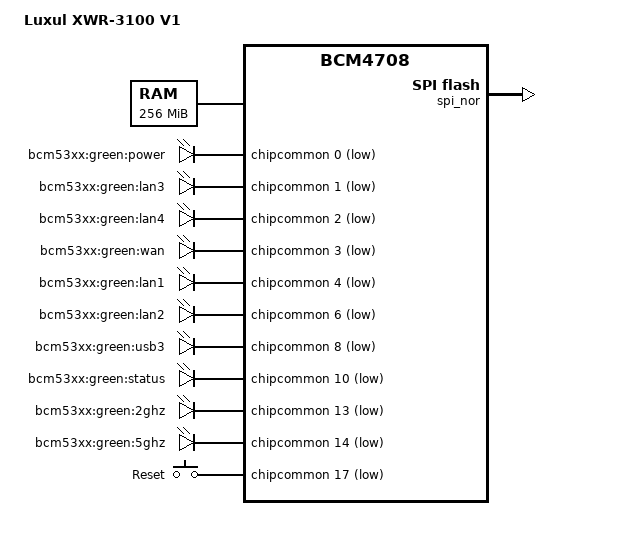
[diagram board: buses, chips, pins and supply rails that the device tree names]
/*
 * Copyright 2016 Luxul Inc.
 *
 * Licensed under the ISC license.
 */

/dts-v1/;

#include "bcm47094.dtsi"
#include "bcm5301x-nand-cs0-bch4.dtsi"

/ {
	compatible = "luxul,xwr-3100v1", "brcm,bcm47094", "brcm,bcm4708";
	model = "Luxul XWR-3100 V1";

	chosen {
		bootargs = "console=ttyS0,115200 earlycon";
	};

	memory {
		reg = <0x00000000 0x08000000
		       0x88000000 0x08000000>;
	};

	leds {
		compatible = "gpio-leds";

		power	{
			label = "bcm53xx:green:power";
			gpios = <&chipcommon 0 GPIO_ACTIVE_LOW>;
			linux,default-trigger = "default-on";
		};

		lan3	{
			label = "bcm53xx:green:lan3";
			gpios = <&chipcommon 1 GPIO_ACTIVE_LOW>;
		};

		lan4	{
			label = "bcm53xx:green:lan4";
			gpios = <&chipcommon 2 GPIO_ACTIVE_LOW>;
		};

		wan	{
			label = "bcm53xx:green:wan";
			gpios = <&chipcommon 3 GPIO_ACTIVE_LOW>;
		};

		lan1	{
			label = "bcm53xx:green:lan1";
			gpios = <&chipcommon 4 GPIO_ACTIVE_LOW>;
		};

		lan2	{
			label = "bcm53xx:green:lan2";
			gpios = <&chipcommon 6 GPIO_ACTIVE_LOW>;
		};

		usb3	{
			label = "bcm53xx:green:usb3";
			gpios = <&chipcommon 8 GPIO_ACTIVE_LOW>;
			trigger-sources = <&ohci_port1>, <&ehci_port1>,
					  <&xhci_port1>;
			linux,default-trigger = "usbport";
		};

		status	{
			label = "bcm53xx:green:status";
			gpios = <&chipcommon 10 GPIO_ACTIVE_LOW>;
			linux,default-trigger = "timer";
		};

		2ghz {
			label = "bcm53xx:green:2ghz";
			gpios = <&chipcommon 13 GPIO_ACTIVE_LOW>;
		};

		5ghz {
			label = "bcm53xx:green:5ghz";
			gpios = <&chipcommon 14 GPIO_ACTIVE_LOW>;
		};
	};

	gpio-keys {
		compatible = "gpio-keys";
		#address-cells = <1>;
		#size-cells = <0>;

		restart {
			label = "Reset";
			linux,code = <KEY_RESTART>;
			gpios = <&chipcommon 17 GPIO_ACTIVE_LOW>;
		};
	};
};

&usb3 {
	vcc-gpio = <&chipcommon 18 GPIO_ACTIVE_HIGH>;
};

&spi_nor {
	status = "okay";
};
